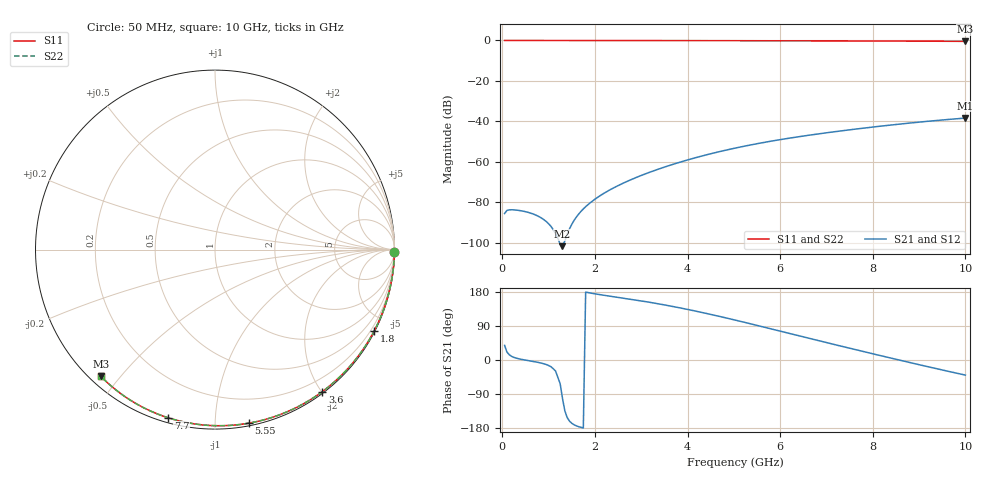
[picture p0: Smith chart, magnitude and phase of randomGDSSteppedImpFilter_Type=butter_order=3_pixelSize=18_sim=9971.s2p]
! freq	dB(S11)	phase(S11)	dB(S12)	phase(S12)
!  dB(S21)	phase(S21)	dB(S22)	phase(S22)
!S-par simulation data
#  GHz  S  DB  R 50
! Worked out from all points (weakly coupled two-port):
!   200 points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, 50 MHz to 10 GHz, reference 50 ohm
!   highest |S21| = -38.32 dB at 10 GHz (marker M1); lowest = -101.6 dB at 1.3 GHz (marker M2)
!   lowest |S11| = -0.4 dB at 10 GHz (marker M3), VSWR 39.19, Z = 1.53 - j22.3 ohm
!   |S11| at or under -10 dB: nowhere
!   |S22| runs from -0.4 to 0.0 dB; largest |S21 - S12| = 0
!   S11 on the Smith chart (normalised r, x): 50 MHz: open; 1.8 GHz: 0.04, -4.15; 3.6 GHz: 0.02, -2.01; 5.55 GHz: 0.02, -1.21; 7.7 GHz: 0.02, -0.76; 10 GHz: 0.03, -0.45
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0.05  -0.00 -0.8  -85.44 38.5  -85.44 38.5  -0.00 -0.8
0.65  -0.01 -9.9  -85.54 -3.4  -85.54 -3.4  -0.01 -9.9
1.3  -0.03 -19.6  -101.57 -101.4  -101.57 -101.4  -0.03 -19.6
1.75  -0.03 -26.3  -83.18 -179.4  -83.18 -179.4  -0.03 -26.3
1.8  -0.03 -27.1  -82.08 179.1  -82.08 179.1  -0.03 -27.1
1.9  -0.04 -28.5  -80.12 176.7  -80.12 176.7  -0.04 -28.5
2.1  -0.04 -31.5  -76.82 172.6  -76.82 172.6  -0.04 -31.5
2.25  -0.04 -33.7  -74.71 169.8  -74.71 169.8  -0.04 -33.7
2.45  -0.05 -36.6  -72.24 166.3  -72.24 166.3  -0.05 -36.6
2.65  -0.05 -39.5  -70.04 162.6  -70.04 162.6  -0.05 -39.5
3  -0.06 -44.5  -66.66 156.0  -66.66 156.0  -0.06 -44.5
3.4  -0.07 -50.1  -63.30 147.6  -63.30 147.6  -0.07 -50.1
3.6  -0.07 -52.9  -61.78 143.1  -61.78 143.1  -0.07 -52.9
4.3  -0.09 -62.5  -57.11 125.8  -57.11 125.8  -0.09 -62.5
5.05  -0.11 -72.5  -53.04 104.7  -53.04 104.7  -0.11 -72.5
5.55  -0.13 -79.0  -50.77 89.8  -50.77 89.8  -0.13 -79.0
6.1  -0.15 -86.0  -48.60 73.2  -48.60 73.2  -0.15 -86.0
6.7  -0.18 -93.5  -46.53 55.0  -46.53 55.0  -0.18 -93.5
7.7  -0.24 -105.5  -43.56 25.2  -43.56 25.2  -0.24 -105.5
8.35  -0.29 -113.1  -41.86 6.2  -41.86 6.2  -0.29 -113.1
9.15  -0.36 -122.3  -39.99 -16.6  -39.99 -16.6  -0.36 -122.3
10  -0.44 -132.0  -38.32 -39.8  -38.32 -39.8  -0.44 -132.0
